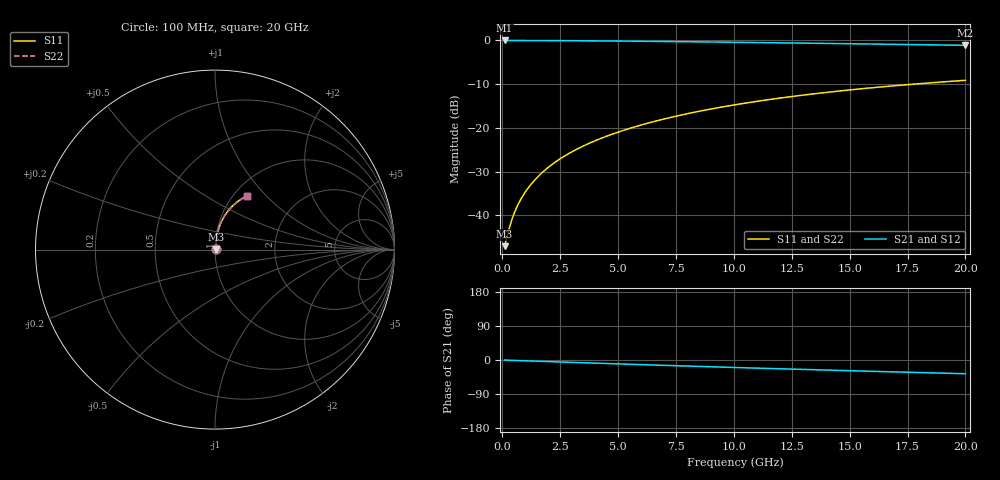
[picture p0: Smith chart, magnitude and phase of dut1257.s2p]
! Touchstone file exported from HFSS 2024.1.0
!  File:  C:/UserFiles/LocalFiles/RDL_TSV_Batchsim/temp_RDL_top_1257_1780241645.aedt
!  Generated:  11:36:16 PM May 31, 2026
!  Design:  RDL_top
!  Project:  temp_RDL_top_1257_1780241645
!  Setup:  Setup1
!  Solution:  Sweep
! Variables:
!  dtsv = 10.80580581um
!  hbump = 3um
!  htsv = 62.76um
!  ldown = 100um
!  lrdl = 513.19um
!  p = 40
!  p1 = 41.41um
!  rhole = 1um
!  t = 450um
!  tdown = 3.915915916um
!  trdl = 2.64um
!  wdown = 15.38538539um
!  wrdl = 18.23um
# GHz S MA R 50.000000
! Terminal data exported
! Port[1] = Box2_T1
! Port[2] = Box2_T2
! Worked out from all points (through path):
!   200 points, 100 MHz to 20 GHz, reference 50 ohm
!   highest |S21| = -0.03 dB at 100 MHz (marker M1); lowest = -1.1 dB at 20 GHz (marker M2)
!   group delay of S21, straight-line fit = 5.01 ps
!   lowest |S11| = -47.1 dB at 100 MHz (marker M3), VSWR 1.01, Z = 50.4 + j0.195 ohm
!   |S11| at or under -10 dB: start of sweep to 17.82 GHz
!   |S22| runs from -47.1 to -9.1 dB; largest |S21 - S12| = 2e-15
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0.1  0.00443 25.8  0.996 -0.2  0.996 -0.2  0.00443 25.8
! Gamma 0 0 0 0
! Port Impedance 50 0 50 0
0.3  0.007083 53.4  0.9957 -0.7  0.9957 -0.7  0.007083 53.4
0.4  0.008675 59.7  0.9956 -0.9  0.9956 -0.9  0.008675 59.7
0.5  0.0103 63.9  0.9954 -1.1  0.9954 -1.1  0.0103 63.9
0.6  0.01194 66.9  0.9952 -1.3  0.9952 -1.3  0.01194 66.9
0.7  0.01359 69.3  0.995 -1.5  0.995 -1.5  0.01359 69.3
0.9  0.01689 72.6  0.9947 -1.9  0.9947 -1.9  0.01689 72.6
1.2  0.0219 75.9  0.9941 -2.5  0.9941 -2.5  0.0219 75.9
1.4  0.02527 77.3  0.9938 -3.0  0.9938 -3.0  0.02527 77.3
1.7  0.03037 78.9  0.9932 -3.6  0.9932 -3.6  0.03037 78.9
2.2  0.039 80.5  0.9919 -4.6  0.9919 -4.6  0.039 80.5
2.8  0.04949 81.5  0.9902 -5.9  0.9902 -5.9  0.04949 81.5
3.5  0.06193 81.9  0.9877 -7.3  0.9877 -7.3  0.06193 81.9
4.2  0.07454 81.9  0.9847 -8.7  0.9847 -8.7  0.07454 81.9
5  0.08914 81.5  0.9809 -10.3  0.9809 -10.3  0.08915 81.5
5.9  0.1058 80.8  0.9761 -12.0  0.9761 -12.0  0.1058 80.8
6.8  0.1225 79.8  0.9709 -13.8  0.9709 -13.8  0.1226 79.8
8.4  0.1525 77.7  0.9609 -16.8  0.9609 -16.8  0.1525 77.7
10.1  0.1841 75.2  0.9494 -19.9  0.9494 -19.9  0.1841 75.2
13.4  0.2435 69.9  0.9258 -25.6  0.9258 -25.6  0.2435 69.9
16.7  0.2986 64.4  0.9013 -31.1  0.9013 -31.1  0.2987 64.4
20  0.3487 59.2  0.8765 -36.2  0.8765 -36.2  0.3488 59.2
